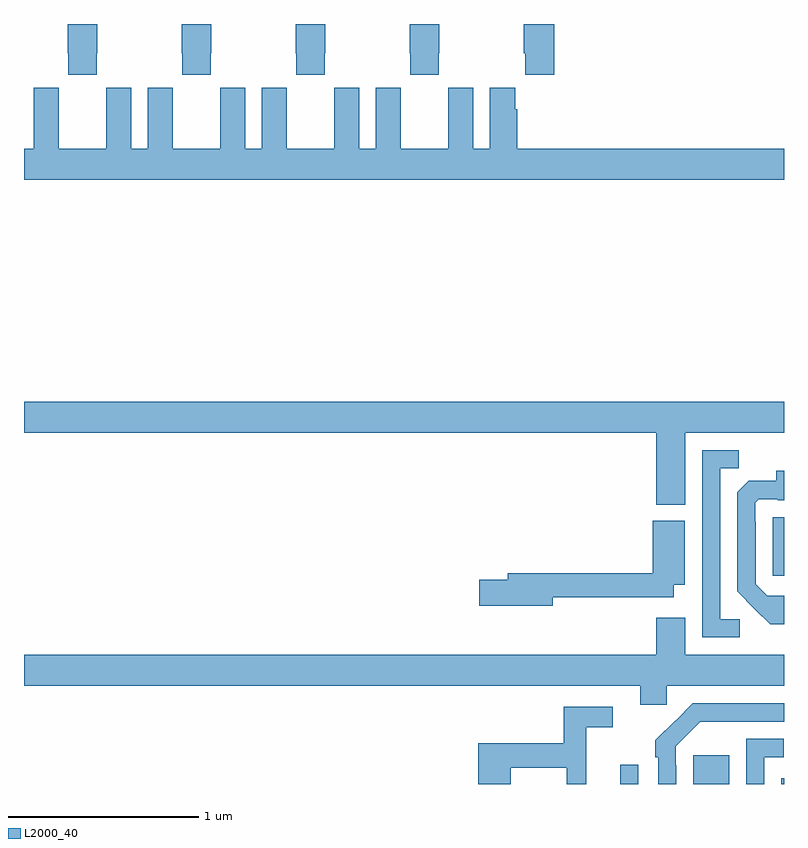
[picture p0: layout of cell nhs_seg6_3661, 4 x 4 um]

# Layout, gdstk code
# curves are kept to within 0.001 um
import gdstk
lib = gdstk.Library(unit=1e-6, precision=1e-09)
def R(c, l, rs):  # rectangles x0, y0, x1, y1
    for r in rs: c.add(gdstk.rectangle(r[:2], r[2:], *l))
def P(c, l, *ps):  # polygons
    for p in ps: c.add(gdstk.Polygon(p, *l))
L2000_40 = (2000, 40)

nhs_seg6_3661 = lib.new_cell('nhs_seg6_3661')
R(nhs_seg6_3661, L2000_40, [(328.137,933.5,328.233,933.601), (328.523,933.5,328.711,933.652), (328.986,933.5,329,933.529), (328.941,934.596,329,934.905)])
P(nhs_seg6_3661, L2000_40, [(327.791,937.5),(327.631,937.5),(327.631,937.345),(327.637,937.345),(327.637,937.233),(327.791,937.233)],
  [(327.183,937.345),(327.186,937.345),(327.186,937.5),(327.031,937.5),(327.031,937.345),(327.033,937.345),(327.033,937.233),(327.183,937.233)],
  [(326.583,937.345),(326.586,937.345),(326.586,937.5),(326.431,937.5),(326.431,937.345),(326.433,937.345),(326.433,937.233),(326.583,937.233)],
  [(325.983,937.345),(325.986,937.345),(325.986,937.5),(325.831,937.5),(325.831,937.345),(325.833,937.345),(325.833,937.233),(325.983,937.233)],
  [(325.383,937.345),(325.386,937.345),(325.386,937.5),(325.231,937.5),(325.231,937.345),(325.233,937.345),(325.233,937.233),(325.383,937.233)],
  [(329,936.844),(327.596,936.844),(327.596,937.052),(327.586,937.052),(327.586,937.165),(327.452,937.165),(327.452,936.844),(327.364,936.844),(327.364,937.165),(327.234,937.165),(327.234,937.052),(327.233,937.052),(327.233,936.844),(326.983,936.844),(326.983,937.052),(326.982,937.052),(326.982,937.165),(326.852,937.165),(326.852,936.844),(326.764,936.844),(326.764,937.165),(326.634,937.165),(326.634,937.052),(326.633,937.052),(326.633,936.844),(326.383,936.844),(326.383,937.052),(326.382,937.052),(326.382,937.165),(326.252,937.165),(326.252,936.844),(326.164,936.844),(326.164,937.165),(326.034,937.165),(326.034,937.052),(326.033,937.052),(326.033,936.844),(325.783,936.844),(325.783,937.052),(325.782,937.052),(325.782,937.165),(325.652,937.165),(325.652,936.844),(325.564,936.844),(325.564,937.165),(325.434,937.165),(325.434,937.052),(325.433,937.052),(325.433,936.844),(325.183,936.844),(325.183,937.052),(325.182,937.052),(325.182,937.165),(325.052,937.165),(325.052,936.844),(325,936.844),(325,936.68),(329,936.68)],
  [(328.48,935.348),(329,935.348),(329,935.512),(325,935.512),(325,935.348),(328.328,935.348),(328.328,934.97),(328.48,934.97)],
  [(328.768,934.368),(328.665,934.368),(328.665,935.161),(328.761,935.161),(328.761,935.256),(328.569,935.256),(328.569,934.272),(328.768,934.272)],
  [(329,934.491),(328.911,934.491),(328.851,934.551),(328.851,934.88),(328.848,934.88),(328.848,934.98),(328.866,934.998),(328.966,934.998),(328.966,934.994),(329,934.994),(329,935.149),(328.958,935.149),(328.958,935.095),(328.814,935.095),(328.755,935.036),(328.755,934.514),(328.927,934.34),(329,934.34)],
  [(327.784,934.482),(328.42,934.482),(328.42,934.55),(328.477,934.55),(328.477,934.885),(328.31,934.885),(328.31,934.61),(327.545,934.61),(327.545,934.574),(327.396,934.574),(327.396,934.439),(327.784,934.439)],
  [(328.383,934.016),(329,934.016),(329,934.18),(328.48,934.18),(328.48,934.375),(328.328,934.375),(328.328,934.18),(325,934.18),(325,934.016),(328.244,934.016),(328.244,933.918),(328.383,933.918)],
  [(328.434,933.599),(328.431,933.599),(328.431,933.699),(328.56,933.828),(329,933.828),(329,933.924),(328.52,933.924),(328.323,933.729),(328.323,933.641),(328.338,933.641),(328.338,933.5),(328.434,933.5)],
  [(327.562,933.586),(327.856,933.586),(327.856,933.5),(327.959,933.5),(327.959,933.798),(328.099,933.798),(328.099,933.906),(327.841,933.906),(327.841,933.715),(327.392,933.715),(327.392,933.5),(327.562,933.5)],
  [(328.896,933.642),(328.999,933.642),(328.999,933.738),(328.8,933.738),(328.8,933.5),(328.896,933.5)])

lib.write_gds('nhs_seg6_3661.gds')
